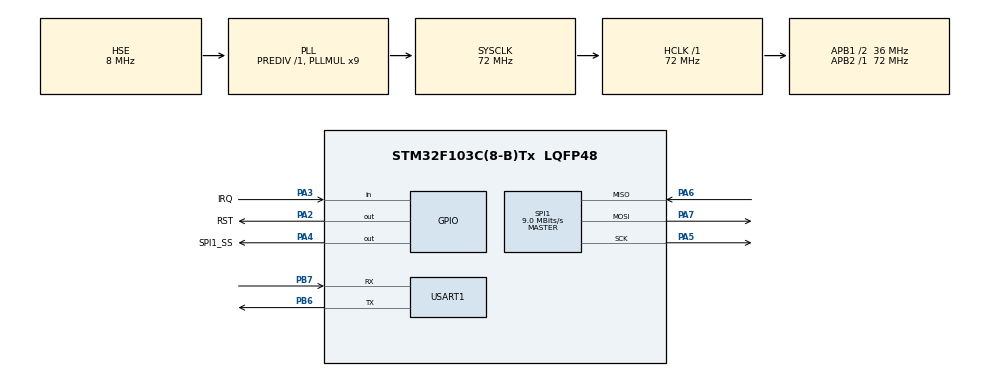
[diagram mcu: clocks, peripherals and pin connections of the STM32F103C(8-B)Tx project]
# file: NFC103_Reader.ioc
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Mcu.Family=STM32F1
Mcu.Name=STM32F103C(8-B)Tx
Mcu.Package=LQFP48
NVIC.PriorityGroup=NVIC_PRIORITYGROUP_4
PA13.Mode=Serial_Wire
PA13.Signal=SYS_JTMS-SWDIO
PA14.Mode=Serial_Wire
PA14.Signal=SYS_JTCK-SWCLK
PA2.GPIO_Label=RST
PA2.GPIO_PuPd=GPIO_PULLUP
PA2.GPIO_Speed=GPIO_SPEED_FREQ_HIGH
PA2.PinState=GPIO_PIN_SET
PA2.Signal=GPIO_Output
PA3.GPIO_Label=IRQ
PA3.Signal=GPIO_Input
PA4.GPIO_Label=SPI1_SS
PA4.Signal=GPIO_Output
PA5.Mode=Full_Duplex_Master
PA5.Signal=SPI1_SCK
PA6.Mode=Full_Duplex_Master
PA6.Signal=SPI1_MISO
PA7.Mode=Full_Duplex_Master
PA7.Signal=SPI1_MOSI
PB6.Mode=Asynchronous
PB6.Signal=USART1_TX
PB7.Mode=Asynchronous
PB7.Signal=USART1_RX
PD0-OSC_IN.Mode=HSE-External-Oscillator
PD0-OSC_IN.Signal=RCC_OSC_IN
PD1-OSC_OUT.Mode=HSE-External-Oscillator
PD1-OSC_OUT.Signal=RCC_OSC_OUT
ProjectManager.HeapSize=0x200
ProjectManager.StackSize=0x400
ProjectManager.TargetToolchain=STM32CubeIDE
RCC.AHBFreq_Value=72000000
RCC.APB1CLKDivider=RCC_HCLK_DIV2
RCC.APB1Freq_Value=36000000
RCC.APB1TimFreq_Value=72000000
RCC.APB2Freq_Value=72000000
RCC.APB2TimFreq_Value=72000000
RCC.HCLKFreq_Value=72000000
RCC.PLLMUL=RCC_PLL_MUL9
RCC.PLLSourceVirtual=RCC_PLLSOURCE_HSE
RCC.SYSCLKFreq_VALUE=72000000
RCC.SYSCLKSource=RCC_SYSCLKSOURCE_PLLCLK
RCC.USBFreq_Value=72000000
SPI1.BaudRatePrescaler=SPI_BAUDRATEPRESCALER_8
SPI1.CLKPhase=SPI_PHASE_1EDGE
SPI1.CLKPolarity=SPI_POLARITY_LOW
SPI1.CalculateBaudRate=9.0 MBits/s
SPI1.Direction=SPI_DIRECTION_2LINES
SPI1.Mode=SPI_MODE_MASTER
SPI1.VirtualType=VM_MASTER
USART1.VirtualMode=VM_ASYNC
board=custom

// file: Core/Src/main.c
/* USER CODE BEGIN Header */
/**
  ******************************************************************************
  * @file           : main.c
  * @brief          : Main program body
  ******************************************************************************
  * @attention
  *
  * Copyright (c) 2024 STMicroelectronics.
  * All rights reserved.
  *
  * This software is licensed under terms that can be found in the LICENSE file
  * in the root directory of this software component.
  * If no LICENSE file comes with this software, it is provided AS-IS.
  *
  ******************************************************************************
  */
/* USER CODE END Header */
#include "main.h"

/* USER CODE BEGIN Includes */
#include "driver_mfrc522_basic.h"
#include "as_functions.h"
#include "rc522.h"
#include "string.h"
/* USER CODE END Includes */

SPI_HandleTypeDef hspi1;

UART_HandleTypeDef huart1;

/* USER CODE BEGIN PV */
uint8_t status;
uint8_t str[MAX_LEN]; // Max_LEN = 16
uint8_t sNum[5];
/* USER CODE END PV */

void SystemClock_Config(void);
static void MX_GPIO_Init(void);
static void MX_SPI1_Init(void);
static void MX_USART1_UART_Init(void);

int main(void)
{

  /* MCU Configuration--------------------------------------------------------*/

  /* Reset of all peripherals, Initializes the Flash interface and the Systick. */
  HAL_Init();

  /* Configure the system clock */
  SystemClock_Config();

  /* Initialize all configured peripherals */
  MX_GPIO_Init();
  MX_SPI1_Init();
  MX_USART1_UART_Init();
  /* USER CODE BEGIN 2 */
  MFRC522_Init();
  /* USER CODE END 2 */

  /* Infinite loop */
  while (1)
  {

    /* USER CODE BEGIN 3 */

	  memset(str, 0, MAX_LEN);
	  memset(sNum, 0, 5);
	  status = MFRC522_Request(PICC_REQIDL, str);
	  status = MFRC522_Anticoll(str);
	  memcpy(sNum, str, 5);
	  HAL_Delay(100);
	   if((str[0]==105) && (str[1]==138) && (str[2]==141) && (str[3]==24) && (str[4]==118) )
	   {
	     mfrc522_interface_debug_print("this is fantastish\r\n");
	     HAL_Delay(100);
	     }
	  // else if((str[0]==199) && (str[1]==102) && (str[2]==209) && (str[3]==215) && (str[4]==167) )
	    // {
	    // HAL_GPIO_WritePin(GPIOC,GPIO_PIN_13,0);
	    // HAL_Delay(2000);
	  // }
	  // else
	  // {
	    // HAL_GPIO_WritePin(GPIOC,GPIO_PIN_13,1);
	  // }

//	  uint8_t xxx = 0x05;
//	  uint8_t yyy = 0x03;
//	  mfrc522_interface_spi_write(0x31, &xxx, 1);
//	  mfrc522_interface_spi_read(0x31, data_massive, 1);
//	  mfrc522_interface_spi_write(0x31, &yyy, 1);
//	  mfrc522_interface_spi_read(0x31, data_massive, 1);
//
//
//	  mfrc522_basic_transceiver(in_buf, 2/*sizeof(in_buf)/sizeof(uint8_t)*/, out_buf, &length);
//
//
//	  mfrc522_interface_debug_print("this is fantastish\r\n");
//	  HAL_Delay(3000);

  }
  /* USER CODE END 3 */
}

void SystemClock_Config(void)
{
  RCC_OscInitTypeDef RCC_OscInitStruct = {0};
  RCC_ClkInitTypeDef RCC_ClkInitStruct = {0};

  /** Initializes the RCC Oscillators according to the specified parameters
  * in the RCC_OscInitTypeDef structure.
  */
  RCC_OscInitStruct.OscillatorType = RCC_OSCILLATORTYPE_HSE;
  RCC_OscInitStruct.HSEState = RCC_HSE_ON;
  RCC_OscInitStruct.HSEPredivValue = RCC_HSE_PREDIV_DIV1;
  RCC_OscInitStruct.HSIState = RCC_HSI_ON;
  RCC_OscInitStruct.PLL.PLLState = RCC_PLL_ON;
  RCC_OscInitStruct.PLL.PLLSource = RCC_PLLSOURCE_HSE;
  RCC_OscInitStruct.PLL.PLLMUL = RCC_PLL_MUL9;
  if (HAL_RCC_OscConfig(&RCC_OscInitStruct) != HAL_OK)
  {
    Error_Handler();
  }

  /** Initializes the CPU, AHB and APB buses clocks
  */
  RCC_ClkInitStruct.ClockType = RCC_CLOCKTYPE_HCLK|RCC_CLOCKTYPE_SYSCLK
                              |RCC_CLOCKTYPE_PCLK1|RCC_CLOCKTYPE_PCLK2;
  RCC_ClkInitStruct.SYSCLKSource = RCC_SYSCLKSOURCE_PLLCLK;
  RCC_ClkInitStruct.AHBCLKDivider = RCC_SYSCLK_DIV1;
  RCC_ClkInitStruct.APB1CLKDivider = RCC_HCLK_DIV2;
  RCC_ClkInitStruct.APB2CLKDivider = RCC_HCLK_DIV1;

  if (HAL_RCC_ClockConfig(&RCC_ClkInitStruct, FLASH_LATENCY_2) != HAL_OK)
  {
    Error_Handler();
  }
}

static void MX_SPI1_Init(void)
{

  /* SPI1 parameter configuration*/
  hspi1.Instance = SPI1;
  hspi1.Init.Mode = SPI_MODE_MASTER;
  hspi1.Init.Direction = SPI_DIRECTION_2LINES;
  hspi1.Init.DataSize = SPI_DATASIZE_8BIT;
  hspi1.Init.CLKPolarity = SPI_POLARITY_LOW;
  hspi1.Init.CLKPhase = SPI_PHASE_1EDGE;
  hspi1.Init.NSS = SPI_NSS_SOFT;
  hspi1.Init.BaudRatePrescaler = SPI_BAUDRATEPRESCALER_8;
  hspi1.Init.FirstBit = SPI_FIRSTBIT_MSB;
  hspi1.Init.TIMode = SPI_TIMODE_DISABLE;
  hspi1.Init.CRCCalculation = SPI_CRCCALCULATION_DISABLE;
  hspi1.Init.CRCPolynomial = 10;
  if (HAL_SPI_Init(&hspi1) != HAL_OK)
  {
    Error_Handler();
  }

}

static void MX_USART1_UART_Init(void)
{

  huart1.Instance = USART1;
  huart1.Init.BaudRate = 115200;
  huart1.Init.WordLength = UART_WORDLENGTH_8B;
  huart1.Init.StopBits = UART_STOPBITS_1;
  huart1.Init.Parity = UART_PARITY_NONE;
  huart1.Init.Mode = UART_MODE_TX_RX;
  huart1.Init.HwFlowCtl = UART_HWCONTROL_NONE;
  huart1.Init.OverSampling = UART_OVERSAMPLING_16;
  if (HAL_UART_Init(&huart1) != HAL_OK)
  {
    Error_Handler();
  }

}

static void MX_GPIO_Init(void)
{
  GPIO_InitTypeDef GPIO_InitStruct = {0};

  /* GPIO Ports Clock Enable */
  __HAL_RCC_GPIOD_CLK_ENABLE();
  __HAL_RCC_GPIOA_CLK_ENABLE();
  __HAL_RCC_GPIOB_CLK_ENABLE();

  /*Configure GPIO pin Output Level */
  HAL_GPIO_WritePin(RST_GPIO_Port, RST_Pin, GPIO_PIN_SET);

  /*Configure GPIO pin Output Level */
  HAL_GPIO_WritePin(SPI1_SS_GPIO_Port, SPI1_SS_Pin, GPIO_PIN_RESET);

  /*Configure GPIO pin : RST_Pin */
  GPIO_InitStruct.Pin = RST_Pin;
  GPIO_InitStruct.Mode = GPIO_MODE_OUTPUT_PP;
  GPIO_InitStruct.Pull = GPIO_PULLUP;
  GPIO_InitStruct.Speed = GPIO_SPEED_FREQ_HIGH;
  HAL_GPIO_Init(RST_GPIO_Port, &GPIO_InitStruct);

  /*Configure GPIO pin : IRQ_Pin */
  GPIO_InitStruct.Pin = IRQ_Pin;
  GPIO_InitStruct.Mode = GPIO_MODE_INPUT;
  GPIO_InitStruct.Pull = GPIO_NOPULL;
  HAL_GPIO_Init(IRQ_GPIO_Port, &GPIO_InitStruct);

  /*Configure GPIO pin : SPI1_SS_Pin */
  GPIO_InitStruct.Pin = SPI1_SS_Pin;
  GPIO_InitStruct.Mode = GPIO_MODE_OUTPUT_PP;
  GPIO_InitStruct.Pull = GPIO_NOPULL;
  GPIO_InitStruct.Speed = GPIO_SPEED_FREQ_LOW;
  HAL_GPIO_Init(SPI1_SS_GPIO_Port, &GPIO_InitStruct);

}

void Error_Handler(void)
{
  __disable_irq();
  while (1)
  {
  }
}
